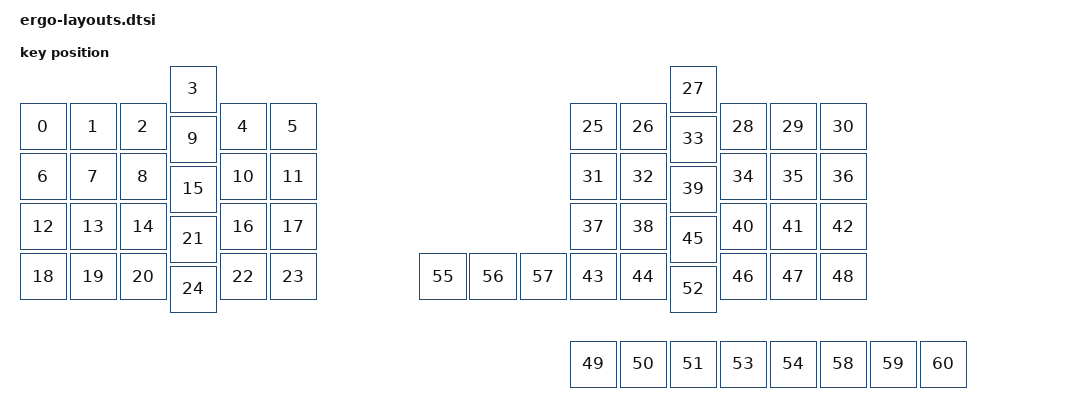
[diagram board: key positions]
/*
 * Physical layout for ZMK Studio - geometry from this board's KLE data.
 * 61 entries to match the matrix transform 1:1 (53 real keys + 8 phantom).
 * Positions are consumed in the SAME order as keymap binding positions 0..60.
 *
 * Phantom keys (the unpopulated right-hand matrix cells) are parked low/right
 * (y >= 4.75) so they sit apart from the real keys instead of stacking in a
 * corner.
 *
 * Coordinates affect ONLY the Studio picture, never scanning or the keymap.
 * If a right-hand key shows one cell off, nudge its x/y on that line - the
 * right half is row-major so a small mismatch is cosmetic and harmless.
 */

#include <physical_layouts.dtsi>

/ {
    ergo_physical_layout: ergo_physical_layout {
        compatible = "zmk,physical-layout";
        display-name = "Ergo";

        keys =
              <&key_physical_attrs 100 100    0   75 0 0 0>  /* L0 */
            , <&key_physical_attrs 100 100  100   75 0 0 0>  /* L1 */
            , <&key_physical_attrs 100 100  200   75 0 0 0>  /* L2 */
            , <&key_physical_attrs 100 100  300    0 0 0 0>  /* L3 */
            , <&key_physical_attrs 100 100  400   75 0 0 0>  /* L4 */
            , <&key_physical_attrs 100 100  500   75 0 0 0>  /* L5 */
            , <&key_physical_attrs 100 100    0  175 0 0 0>  /* L6 */
            , <&key_physical_attrs 100 100  100  175 0 0 0>  /* L7 */
            , <&key_physical_attrs 100 100  200  175 0 0 0>  /* L8 */
            , <&key_physical_attrs 100 100  300  100 0 0 0>  /* L9 */
            , <&key_physical_attrs 100 100  400  175 0 0 0>  /* L10 */
            , <&key_physical_attrs 100 100  500  175 0 0 0>  /* L11 */
            , <&key_physical_attrs 100 100    0  275 0 0 0>  /* L12 */
            , <&key_physical_attrs 100 100  100  275 0 0 0>  /* L13 */
            , <&key_physical_attrs 100 100  200  275 0 0 0>  /* L14 */
            , <&key_physical_attrs 100 100  300  200 0 0 0>  /* L15 */
            , <&key_physical_attrs 100 100  400  275 0 0 0>  /* L16 */
            , <&key_physical_attrs 100 100  500  275 0 0 0>  /* L17 */
            , <&key_physical_attrs 100 100    0  375 0 0 0>  /* L18 */
            , <&key_physical_attrs 100 100  100  375 0 0 0>  /* L19 */
            , <&key_physical_attrs 100 100  200  375 0 0 0>  /* L20 */
            , <&key_physical_attrs 100 100  300  300 0 0 0>  /* L21 */
            , <&key_physical_attrs 100 100  400  375 0 0 0>  /* L22 */
            , <&key_physical_attrs 100 100  500  375 0 0 0>  /* L23 */
            , <&key_physical_attrs 100 100  300  400 0 0 0>  /* L24 */
            , <&key_physical_attrs 100 100 1100   75 0 0 0>  /* Y */
            , <&key_physical_attrs 100 100 1200   75 0 0 0>  /* U */
            , <&key_physical_attrs 100 100 1300    0 0 0 0>  /* I */
            , <&key_physical_attrs 100 100 1400   75 0 0 0>  /* O */
            , <&key_physical_attrs 100 100 1500   75 0 0 0>  /* MINUS */
            , <&key_physical_attrs 100 100 1600   75 0 0 0>  /* DEL */
            , <&key_physical_attrs 100 100 1100  175 0 0 0>  /* H */
            , <&key_physical_attrs 100 100 1200  175 0 0 0>  /* J */
            , <&key_physical_attrs 100 100 1300  100 0 0 0>  /* K */
            , <&key_physical_attrs 100 100 1400  175 0 0 0>  /* L */
            , <&key_physical_attrs 100 100 1500  175 0 0 0>  /* P */
            , <&key_physical_attrs 100 100 1600  175 0 0 0>  /* BSPC */
            , <&key_physical_attrs 100 100 1100  275 0 0 0>  /* N */
            , <&key_physical_attrs 100 100 1200  275 0 0 0>  /* M */
            , <&key_physical_attrs 100 100 1300  200 0 0 0>  /* COMMA */
            , <&key_physical_attrs 100 100 1400  275 0 0 0>  /* DOT */
            , <&key_physical_attrs 100 100 1500  275 0 0 0>  /* SEMI */
            , <&key_physical_attrs 100 100 1600  275 0 0 0>  /* RET */
            , <&key_physical_attrs 100 100 1100  375 0 0 0>  /* BSPC2 */
            , <&key_physical_attrs 100 100 1200  375 0 0 0>  /* LEFT */
            , <&key_physical_attrs 100 100 1300  300 0 0 0>  /* UP */
            , <&key_physical_attrs 100 100 1400  375 0 0 0>  /* RIGHT */
            , <&key_physical_attrs 100 100 1500  375 0 0 0>  /* FSLH */
            , <&key_physical_attrs 100 100 1600  375 0 0 0>  /* RSHFT */
            , <&key_physical_attrs 100 100 1100  550 0 0 0>  /* n49 (spacer; kept near board so Studio zoom stays usable) */
            , <&key_physical_attrs 100 100 1200  550 0 0 0>  /* n50 (spacer; kept near board so Studio zoom stays usable) */
            , <&key_physical_attrs 100 100 1300  550 0 0 0>  /* n51 (spacer; kept near board so Studio zoom stays usable) */
            , <&key_physical_attrs 100 100 1300  400 0 0 0>  /* DOWN */
            , <&key_physical_attrs 100 100 1400  550 0 0 0>  /* n53 (spacer; kept near board so Studio zoom stays usable) */
            , <&key_physical_attrs 100 100 1500  550 0 0 0>  /* n54 (spacer; kept near board so Studio zoom stays usable) */
            , <&key_physical_attrs 100 100  800  375 0 0 0>  /* MKP55 */
            , <&key_physical_attrs 100 100  900  375 0 0 0>  /* MKP56 */
            , <&key_physical_attrs 100 100 1000  375 0 0 0>  /* MKP57 */
            , <&key_physical_attrs 100 100 1600  550 0 0 0>  /* n58 (spacer; kept near board so Studio zoom stays usable) */
            , <&key_physical_attrs 100 100 1700  550 0 0 0>  /* n59 (spacer; kept near board so Studio zoom stays usable) */
            , <&key_physical_attrs 100 100 1800  550 0 0 0>  /* n60 (spacer; kept near board so Studio zoom stays usable) */
            ;
    };
};
